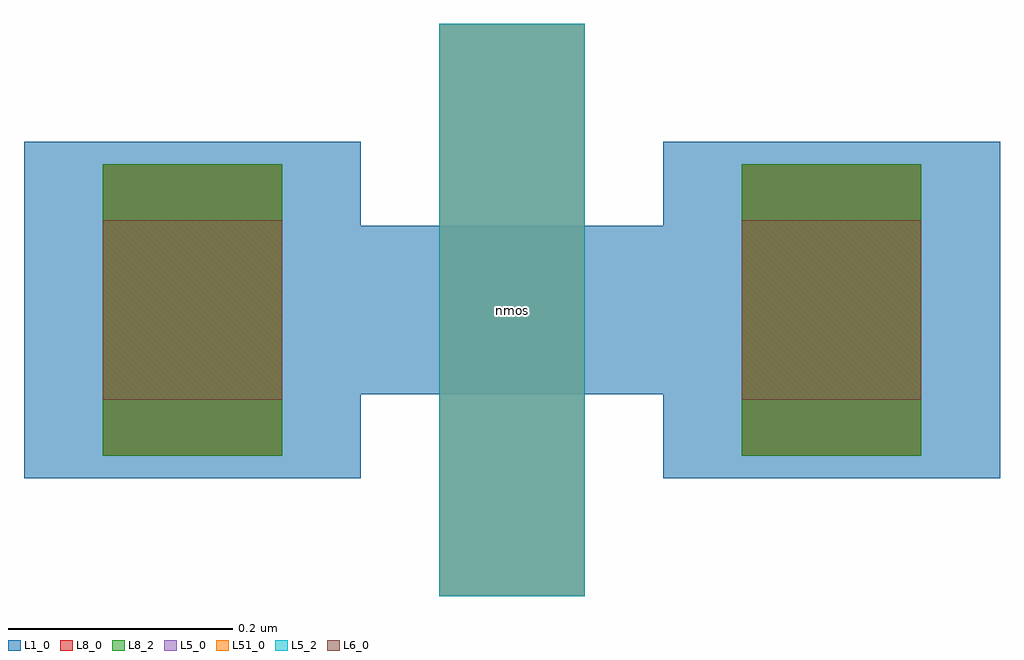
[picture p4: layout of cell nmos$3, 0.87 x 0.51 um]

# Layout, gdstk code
import gdstk
lib = gdstk.Library(unit=1e-6, precision=5e-09)
def R(c, l, rs):  # rectangles x0, y0, x1, y1
    for r in rs: c.add(gdstk.rectangle(r[:2], r[2:], *l))
L1_0 = (1, 0)
L5_0 = (5, 0)
L5_2 = (5, 2)
L6_0 = (6, 0)
L8_0 = (8, 0)
L8_2 = (8, 2)
L51_0 = (51, 0)

nmos_3 = lib.new_cell('nmos$3')
R(nmos_3, L1_0, [(0,0,0.3,0.3), (0.57,0,0.87,0.3), (0,0.075,0.87,0.225)])
R(nmos_3, L5_0, [(0.37,-0.105,0.5,0.405)])
R(nmos_3, L5_2, [(0.37,-0.105,0.5,0.405)])
R(nmos_3, L6_0, [(0.07,0.07,0.23,0.23), (0.64,0.07,0.8,0.23)])
R(nmos_3, L8_0, [(0.07,0.02,0.23,0.28), (0.64,0.02,0.8,0.28)])
R(nmos_3, L8_2, [(0.07,0.02,0.23,0.28), (0.64,0.02,0.8,0.28)])
R(nmos_3, L51_0, [(0.37,-0.105,0.5,0.405)])
nmos_3.add(gdstk.Label('nmos', (0.435,0.15), layer=63, texttype=0))
nmos_3.add(gdstk.Label('nmos', (0.435,0.15), layer=51, texttype=0))

lib.write_gds('nmos_3.gds')
